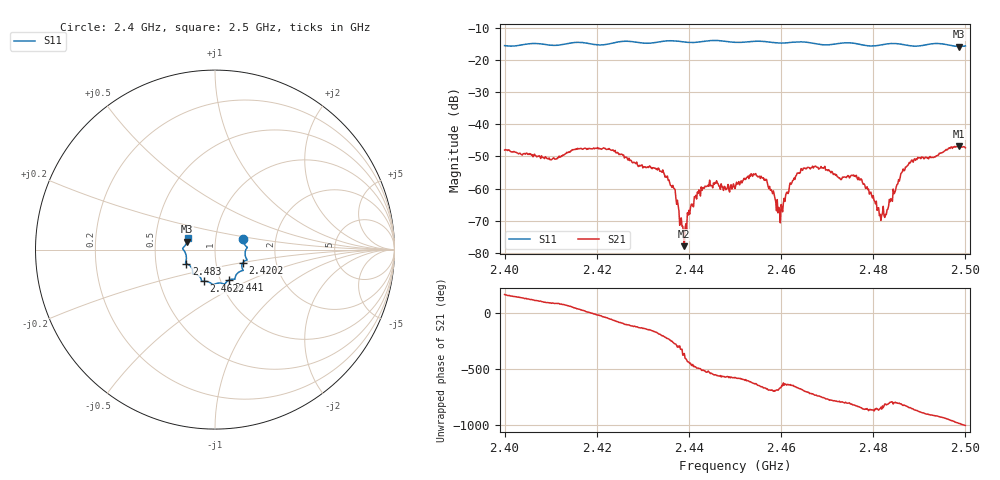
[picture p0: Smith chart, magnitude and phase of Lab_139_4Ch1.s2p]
# Hz S RI R 50
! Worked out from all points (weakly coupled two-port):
!   601 points, 2.4 GHz to 2.5 GHz, reference 50 ohm
!   highest |S21| = -46.73 dB at 2.4987 GHz (marker M1); lowest = -77.9 dB at 2.439 GHz (marker M2)
!   lowest |S11| = -15.8 dB at 2.4987 GHz (marker M3), VSWR 1.39, Z = 36.4 + j3.33 ohm
!   |S11| at or under -10 dB: start of sweep to end of sweep
!   S12 and S22 are empty: the file has one direction only
!   S11 on the Smith chart (normalised r, x): 2.4 GHz: 1.36, +0.17; 2.4202 GHz: 1.35, -0.20; 2.441 GHz: 1.09, -0.39; 2.4622 GHz: 0.83, -0.30; 2.483 GHz: 0.72, -0.12; 2.5 GHz: 0.73, +0.09
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2.4e9  0.1559 0.06  -0.00387 0.000951  0 0  0 0
2.409833e9  0.1699 -0.00574  -6.41e-05 0.00283  0 0  0 0
2.416667e9  0.1776 -0.0583  0.00366 0.00208  0 0  0 0
2.420167e9  0.1558 -0.072  0.00416 -0.0013  0 0  0 0
2.433333e9  0.113 -0.1525  -0.00209 6.82e-05  0 0  0 0
2.436667e9  0.1095 -0.1654  -9.73e-05 0.00102  0 0  0 0
2.439e9  0.0956 -0.1643  0.000128 -1.46e-06  0 0  0 0
2.441e9  0.0766 -0.1706  -0.000241 -0.000464  0 0  0 0
2.444e9  0.057 -0.1894  -0.00107 -0.000257  0 0  0 0
2.45e9  0.0263 -0.186  -0.000835 0.000552  0 0  0 0
2.456167e9  -0.0143 -0.1935  0.000913 0.00116  0 0  0 0
2.459833e9  -0.0414 -0.1783  0.000178 0.000233  0 0  0 0
2.462167e9  -0.0634 -0.1766  0.000298 0.00113  0 0  0 0
2.466667e9  -0.0765 -0.1667  0.00213 -4.67e-05  0 0  0 0
2.476e9  -0.125 -0.1305  -0.000363 -0.00156  0 0  0 0
2.479167e9  -0.1307 -0.101  -0.000636 -0.00052  0 0  0 0
2.481333e9  -0.1473 -0.0836  -0.00028 -0.000259  0 0  0 0
2.483e9  -0.1594 -0.0782  -3.43e-05 -0.000469  0 0  0 0
2.483333e9  -0.1609 -0.0775  3.37e-05 -0.000535  0 0  0 0
2.488e9  -0.1594 -0.0478  -0.00136 -0.00211  0 0  0 0
2.498667e9  -0.1556 0.0445  -0.0004 0.00459  0 0  0 0
2.5e9  -0.1526 0.0632  0.00094 0.00421  0 0  0 0
